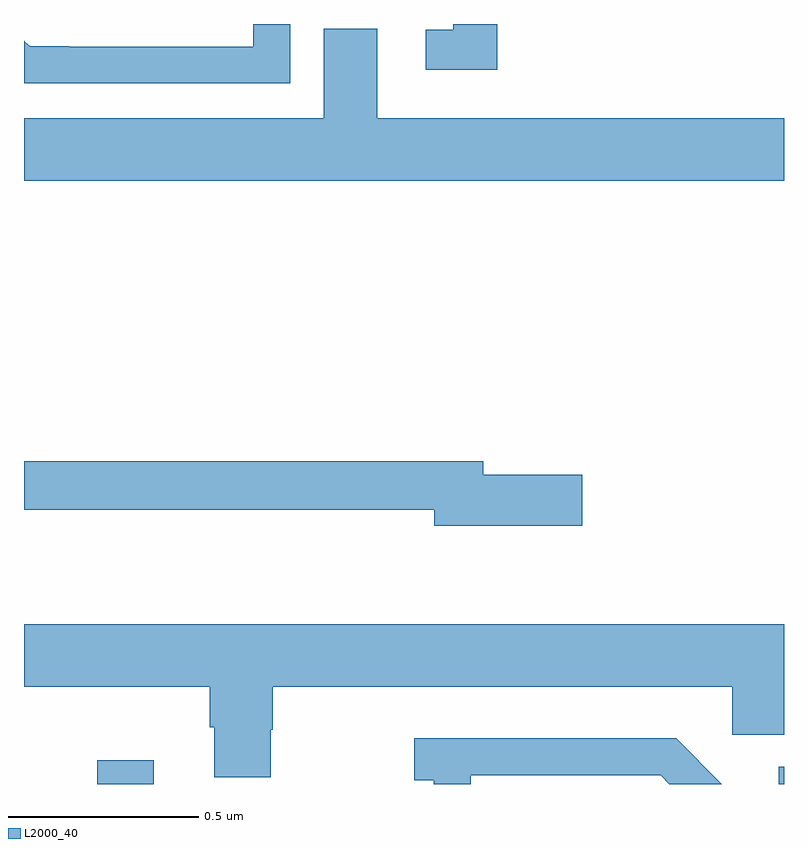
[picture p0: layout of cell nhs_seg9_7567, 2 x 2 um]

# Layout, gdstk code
import gdstk
lib = gdstk.Library(unit=1e-6, precision=1e-09)
def R(c, l, rs):  # rectangles x0, y0, x1, y1
    for r in rs: c.add(gdstk.rectangle(r[:2], r[2:], *l))
def P(c, l, *ps):  # polygons
    for p in ps: c.add(gdstk.Polygon(p, *l))
L2000_40 = (2000, 40)

nhs_seg9_7567 = lib.new_cell('nhs_seg9_7567')
R(nhs_seg9_7567, L2000_40, [(206.193,1193.5,206.341,1193.563), (207.986,1193.5,208,1193.545)])
P(nhs_seg9_7567, L2000_40, [(207.245,1195.5),(207.129,1195.5),(207.129,1195.485),(207.057,1195.485),(207.057,1195.38),(207.245,1195.38)],
  [(206.7,1195.5),(206.603,1195.5),(206.603,1195.44),(206.119,1195.44),(206.119,1195.441),(206.016,1195.441),(206.005,1195.451),(206,1195.456),(206,1195.344),(206.7,1195.344)],
  [(208,1195.252),(206.929,1195.252),(206.929,1195.488),(206.789,1195.488),(206.789,1195.252),(206,1195.252),(206,1195.088),(208,1195.088)],
  [(207.469,1194.314),(207.208,1194.314),(207.208,1194.35),(206,1194.35),(206,1194.222),(207.08,1194.222),(207.08,1194.179),(207.469,1194.179)],
  [(206.649,1193.643),(206.654,1193.643),(206.654,1193.756),(207.864,1193.756),(207.864,1193.63),(208,1193.63),(208,1193.92),(206,1193.92),(206,1193.756),(206.489,1193.756),(206.489,1193.65),(206.501,1193.65),(206.501,1193.518),(206.649,1193.518)],
  [(207.175,1193.523),(207.675,1193.523),(207.698,1193.5),(207.836,1193.5),(207.716,1193.62),(207.027,1193.62),(207.027,1193.51),(207.078,1193.51),(207.078,1193.5),(207.175,1193.5)])

lib.write_gds('nhs_seg9_7567.gds')
